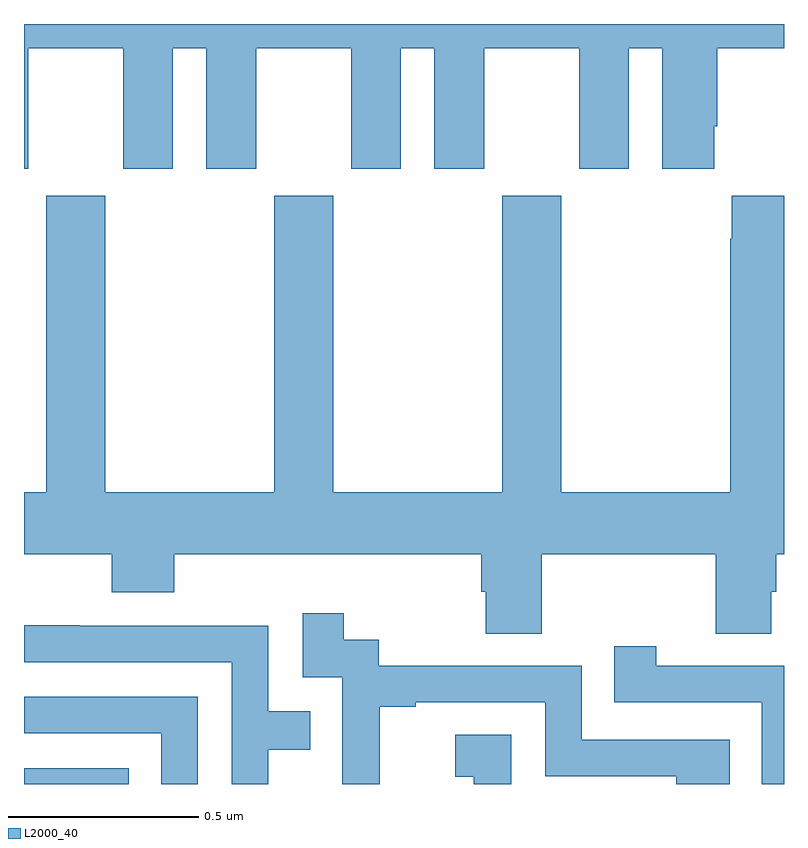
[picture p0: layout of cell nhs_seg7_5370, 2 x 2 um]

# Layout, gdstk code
import gdstk
lib = gdstk.Library(unit=1e-6, precision=1e-09)
def R(c, l, rs):  # rectangles x0, y0, x1, y1
    for r in rs: c.add(gdstk.rectangle(r[:2], r[2:], *l))
def P(c, l, *ps):  # polygons
    for p in ps: c.add(gdstk.Polygon(p, *l))
L2000_40 = (2000, 40)

nhs_seg7_5370 = lib.new_cell('nhs_seg7_5370')
R(nhs_seg7_5370, L2000_40, [(185,1012,185.276,1012.042)])
P(nhs_seg7_5370, L2000_40, [(185.011,1013.936),(185.261,1013.936),(185.261,1013.619),(185.392,1013.619),(185.392,1013.936),(185.48,1013.936),(185.48,1013.619),(185.611,1013.619),(185.611,1013.936),(185.861,1013.936),(185.861,1013.619),(185.992,1013.619),(185.992,1013.936),(186.08,1013.936),(186.08,1013.619),(186.211,1013.619),(186.211,1013.936),(186.461,1013.936),(186.461,1013.619),(186.592,1013.619),(186.592,1013.936),(186.68,1013.936),(186.68,1013.619),(186.817,1013.619),(186.817,1013.731),(186.824,1013.731),(186.824,1013.936),(187,1013.936),(187,1014),(185,1014),(185,1013.619),(185.011,1013.619)],
  [(185.214,1013.548),(185.059,1013.548),(185.059,1012.768),(185,1012.768),(185,1012.604),(185.231,1012.604),(185.231,1012.505),(185.396,1012.505),(185.396,1012.604),(186.203,1012.604),(186.203,1012.506),(186.215,1012.506),(186.215,1012.396),(186.363,1012.396),(186.363,1012.604),(186.82,1012.604),(186.82,1012.396),(186.967,1012.396),(186.967,1012.506),(186.98,1012.506),(186.98,1012.604),(187,1012.604),(187,1013.548),(186.863,1013.548),(186.863,1013.435),(186.859,1013.435),(186.859,1012.768),(186.414,1012.768),(186.414,1013.548),(186.259,1013.548),(186.259,1012.768),(185.814,1012.768),(185.814,1013.548),(185.659,1013.548),(185.659,1012.768),(185.214,1012.768)],
  [(185.936,1012.203),(186.031,1012.203),(186.031,1012.215),(186.372,1012.215),(186.372,1012.02),(186.717,1012.02),(186.717,1012),(186.857,1012),(186.857,1012.116),(186.468,1012.116),(186.468,1012.311),(185.934,1012.311),(185.934,1012.38),(185.842,1012.38),(185.842,1012.45),(185.733,1012.45),(185.733,1012.281),(185.838,1012.281),(185.838,1012.052),(185.837,1012.052),(185.837,1012),(185.936,1012)],
  [(185.643,1012.09),(185.753,1012.09),(185.753,1012.191),(185.643,1012.191),(185.643,1012.416),(185.147,1012.416),(185.147,1012.418),(185,1012.418),(185,1012.32),(185.547,1012.32),(185.547,1012),(185.643,1012)],
  [(187,1012.311),(186.664,1012.311),(186.664,1012.363),(186.553,1012.363),(186.553,1012.215),(186.942,1012.215),(186.942,1012),(187,1012)],
  [(185.457,1012.23),(185,1012.23),(185,1012.134),(185.361,1012.134),(185.361,1012),(185.457,1012)],
  [(186.282,1012.129),(186.135,1012.129),(186.135,1012.019),(186.184,1012.019),(186.184,1012),(186.282,1012)])

lib.write_gds('nhs_seg7_5370.gds')
